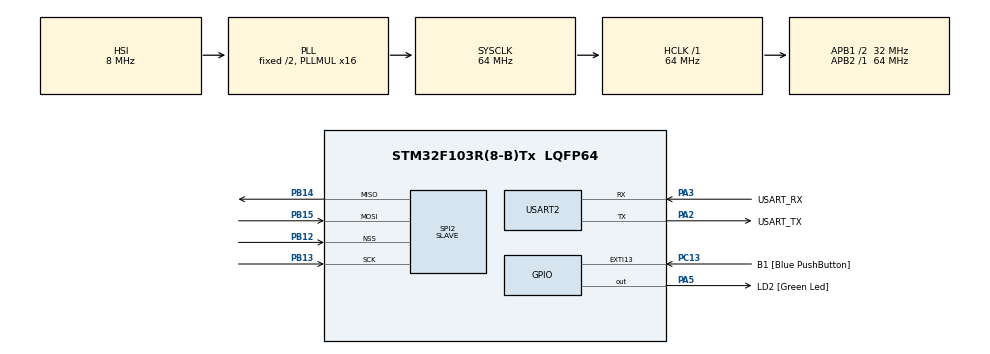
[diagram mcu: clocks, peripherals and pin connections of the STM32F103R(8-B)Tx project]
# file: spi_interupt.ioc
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Dma.Request0=SPI2_RX
Dma.Request1=SPI2_TX
Dma.SPI2_RX.0.Direction=DMA_PERIPH_TO_MEMORY
Dma.SPI2_RX.0.Instance=DMA1_Channel4
Dma.SPI2_RX.0.MemDataAlignment=DMA_MDATAALIGN_BYTE
Dma.SPI2_RX.0.MemInc=DMA_MINC_ENABLE
Dma.SPI2_RX.0.Mode=DMA_NORMAL
Dma.SPI2_RX.0.PeriphDataAlignment=DMA_PDATAALIGN_BYTE
Dma.SPI2_RX.0.PeriphInc=DMA_PINC_DISABLE
Dma.SPI2_RX.0.Priority=DMA_PRIORITY_LOW
Dma.SPI2_TX.1.Direction=DMA_MEMORY_TO_PERIPH
Dma.SPI2_TX.1.Instance=DMA1_Channel5
Dma.SPI2_TX.1.MemDataAlignment=DMA_MDATAALIGN_BYTE
Dma.SPI2_TX.1.MemInc=DMA_MINC_ENABLE
Dma.SPI2_TX.1.Mode=DMA_NORMAL
Dma.SPI2_TX.1.PeriphDataAlignment=DMA_PDATAALIGN_BYTE
Dma.SPI2_TX.1.PeriphInc=DMA_PINC_DISABLE
Dma.SPI2_TX.1.Priority=DMA_PRIORITY_LOW
Mcu.Family=STM32F1
Mcu.Name=STM32F103R(8-B)Tx
Mcu.Package=LQFP64
NVIC.DMA1_Channel4_IRQn=true\:0\:0\:false\:false\:true\:false\:true\:true
NVIC.DMA1_Channel5_IRQn=true\:0\:0\:false\:false\:true\:false\:true\:true
NVIC.EXTI15_10_IRQn=true\:0\:0\:false\:false\:true\:true\:true\:true
NVIC.PriorityGroup=NVIC_PRIORITYGROUP_4
NVIC.SPI2_IRQn=true\:0\:0\:false\:false\:true\:true\:true\:true
PA13.GPIO_Label=TMS
PA13.Mode=Serial_Wire
PA13.Signal=SYS_JTMS-SWDIO
PA14.GPIO_Label=TCK
PA14.Mode=Serial_Wire
PA14.Signal=SYS_JTCK-SWCLK
PA2.GPIO_Label=USART_TX
PA2.GPIO_Mode=GPIO_MODE_AF_PP
PA2.GPIO_PuPd=GPIO_NOPULL
PA2.GPIO_Speed=GPIO_SPEED_FREQ_LOW
PA2.Mode=Asynchronous
PA2.Signal=USART2_TX
PA3.GPIO_Label=USART_RX
PA3.GPIO_Mode=GPIO_MODE_AF_PP
PA3.GPIO_PuPd=GPIO_NOPULL
PA3.GPIO_Speed=GPIO_SPEED_FREQ_LOW
PA3.Mode=Asynchronous
PA3.Signal=USART2_RX
PA5.GPIO_Label=LD2 [Green Led]
PA5.GPIO_ModeDefaultOutputPP=GPIO_MODE_OUTPUT_PP
PA5.GPIO_PuPd=GPIO_NOPULL
PA5.GPIO_Speed=GPIO_SPEED_FREQ_LOW
PA5.Signal=GPIO_Output
PB12.Mode=NSS_Signal_Hard_Input
PB12.Signal=SPI2_NSS
PB13.Mode=Full_Duplex_Slave
PB13.Signal=SPI2_SCK
PB14.Mode=Full_Duplex_Slave
PB14.Signal=SPI2_MISO
PB15.Mode=Full_Duplex_Slave
PB15.Signal=SPI2_MOSI
PB3.GPIO_Label=SWO
PB3.Signal=SYS_JTDO-TRACESWO
PC13-TAMPER-RTC.GPIO_Label=B1 [Blue PushButton]
PC13-TAMPER-RTC.GPIO_PuPd=GPIO_NOPULL
PC13-TAMPER-RTC.Signal=GPXTI13
PC14-OSC32_IN.Mode=LSE-External-Oscillator
PC14-OSC32_IN.Signal=RCC_OSC32_IN
PC15-OSC32_OUT.Mode=LSE-External-Oscillator
PC15-OSC32_OUT.Signal=RCC_OSC32_OUT
PD0-OSC_IN.Mode=HSE-External-Clock-Source
PD0-OSC_IN.Signal=RCC_OSC_IN
PD1-OSC_OUT.Mode=HSE-External-Clock-Source
PD1-OSC_OUT.Signal=RCC_OSC_OUT
ProjectManager.HeapSize=0x200
ProjectManager.StackSize=0x400
ProjectManager.TargetToolchain=STM32CubeIDE
RCC.AHBFreq_Value=64000000
RCC.APB1CLKDivider=RCC_HCLK_DIV2
RCC.APB1Freq_Value=32000000
RCC.APB1TimFreq_Value=64000000
RCC.APB2Freq_Value=64000000
RCC.APB2TimFreq_Value=64000000
RCC.HCLKFreq_Value=64000000
RCC.PLLMUL=RCC_PLL_MUL16
RCC.RTCClockSelection=RCC_RTCCLKSOURCE_LSE
RCC.SYSCLKFreq_VALUE=64000000
RCC.SYSCLKSource=RCC_SYSCLKSOURCE_PLLCLK
RCC.USBFreq_Value=64000000
SPI2.Direction=SPI_DIRECTION_2LINES
SPI2.Mode=SPI_MODE_SLAVE
SPI2.VirtualNSS=VM_NSSHARD
SPI2.VirtualType=VM_SLAVE
USART2.VirtualMode=VM_ASYNC
board=NUCLEO-F103RB

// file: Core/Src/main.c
/* USER CODE BEGIN Header */
/**
  ******************************************************************************
  * @file           : main.c
  * @brief          : Main program body
  ******************************************************************************
  * @attention
  *
  * Copyright (c) 2025 STMicroelectronics.
  * All rights reserved.
  *
  * This software is licensed under terms that can be found in the LICENSE file
  * in the root directory of this software component.
  * If no LICENSE file comes with this software, it is provided AS-IS.
  *
  ******************************************************************************
  */
/* USER CODE END Header */
#include "main.h"

/* USER CODE BEGIN Includes */
#define BUFFER_SIZE 6
/* USER CODE END Includes */

/* USER CODE BEGIN PD */
static uint8_t rx[BUFFER_SIZE];
static uint8_t tx[BUFFER_SIZE] = { 'B','O','O','T','!','!' }; // 첫 프레임 응답
static volatile uint8_t last_rx[BUFFER_SIZE];
static volatile uint8_t frame_done = 0; // 메인 루프에서 로그 찍기용
/* USER CODE END PD */

SPI_HandleTypeDef hspi2;
DMA_HandleTypeDef hdma_spi2_rx;
DMA_HandleTypeDef hdma_spi2_tx;

UART_HandleTypeDef huart2;

void SystemClock_Config(void);
static void MX_GPIO_Init(void);
static void MX_DMA_Init(void);
static void MX_USART2_UART_Init(void);
static void MX_SPI2_Init(void);

/* USER CODE BEGIN 0 */
int __io_putchar(int ch)
{
    HAL_UART_Transmit(&huart2, (uint8_t *)&ch, 1, HAL_MAX_DELAY);
    return ch;
}

static void compute_response(const uint8_t in[BUFFER_SIZE], uint8_t out[BUFFER_SIZE])
{
    for (int i=0; i<BUFFER_SIZE; i++) {
        uint8_t c = in[i];
        out[i] = (c >= 'a' && c <= 'z') ? (uint8_t)(c - 'a' + 'A') : c;
    }
    out[0] = 'O'; out[1] = 'K';
}
/* USER CODE END 0 */

int main(void)
{

  /* MCU Configuration--------------------------------------------------------*/

  /* Reset of all peripherals, Initializes the Flash interface and the Systick. */
  HAL_Init();

  /* Configure the system clock */
  SystemClock_Config();

  /* Initialize all configured peripherals */
  MX_GPIO_Init();
  MX_DMA_Init();
  MX_USART2_UART_Init();
  MX_SPI2_Init();
  /* USER CODE BEGIN 2 */
  HAL_NVIC_SetPriority(SPI2_IRQn, 1, 0);
  HAL_NVIC_EnableIRQ(SPI2_IRQn);
  HAL_SPI_TransmitReceive_DMA(&hspi2, tx, rx, BUFFER_SIZE);
  /* USER CODE END 2 */

  /* Infinite loop */
  while (1)
  {
	if (frame_done) {
		 frame_done = 0;
		 // 직전 프레임에서 받은 바이트를 UART로 보기 (콜백 안에서 출력 금지!)
		 printf("RX: ");
		 for (int i=0;i<BUFFER_SIZE;i++) printf("%02X ", last_rx[i]);
		 printf(" | \"");
		 for (int i=0;i<BUFFER_SIZE;i++) {
			 uint8_t c = last_rx[i];
			 putchar((c>=32 && c<=126) ? c : '.');
		 }
		 printf("\"\r\n");
	 }
  }
}

void SystemClock_Config(void)
{
  RCC_OscInitTypeDef RCC_OscInitStruct = {0};
  RCC_ClkInitTypeDef RCC_ClkInitStruct = {0};

  /** Initializes the RCC Oscillators according to the specified parameters
  * in the RCC_OscInitTypeDef structure.
  */
  RCC_OscInitStruct.OscillatorType = RCC_OSCILLATORTYPE_HSI;
  RCC_OscInitStruct.HSIState = RCC_HSI_ON;
  RCC_OscInitStruct.HSICalibrationValue = RCC_HSICALIBRATION_DEFAULT;
  RCC_OscInitStruct.PLL.PLLState = RCC_PLL_ON;
  RCC_OscInitStruct.PLL.PLLSource = RCC_PLLSOURCE_HSI_DIV2;
  RCC_OscInitStruct.PLL.PLLMUL = RCC_PLL_MUL16;
  if (HAL_RCC_OscConfig(&RCC_OscInitStruct) != HAL_OK)
  {
    Error_Handler();
  }

  /** Initializes the CPU, AHB and APB buses clocks
  */
  RCC_ClkInitStruct.ClockType = RCC_CLOCKTYPE_HCLK|RCC_CLOCKTYPE_SYSCLK
                              |RCC_CLOCKTYPE_PCLK1|RCC_CLOCKTYPE_PCLK2;
  RCC_ClkInitStruct.SYSCLKSource = RCC_SYSCLKSOURCE_PLLCLK;
  RCC_ClkInitStruct.AHBCLKDivider = RCC_SYSCLK_DIV1;
  RCC_ClkInitStruct.APB1CLKDivider = RCC_HCLK_DIV2;
  RCC_ClkInitStruct.APB2CLKDivider = RCC_HCLK_DIV1;

  if (HAL_RCC_ClockConfig(&RCC_ClkInitStruct, FLASH_LATENCY_2) != HAL_OK)
  {
    Error_Handler();
  }
}

static void MX_SPI2_Init(void)
{

  /* SPI2 parameter configuration*/
  hspi2.Instance = SPI2;
  hspi2.Init.Mode = SPI_MODE_SLAVE;
  hspi2.Init.Direction = SPI_DIRECTION_2LINES;
  hspi2.Init.DataSize = SPI_DATASIZE_8BIT;
  hspi2.Init.CLKPolarity = SPI_POLARITY_LOW;
  hspi2.Init.CLKPhase = SPI_PHASE_1EDGE;
  hspi2.Init.NSS = SPI_NSS_HARD_INPUT;
  hspi2.Init.FirstBit = SPI_FIRSTBIT_MSB;
  hspi2.Init.TIMode = SPI_TIMODE_DISABLE;
  hspi2.Init.CRCCalculation = SPI_CRCCALCULATION_DISABLE;
  hspi2.Init.CRCPolynomial = 10;
  if (HAL_SPI_Init(&hspi2) != HAL_OK)
  {
    Error_Handler();
  }

}

static void MX_USART2_UART_Init(void)
{

  huart2.Instance = USART2;
  huart2.Init.BaudRate = 115200;
  huart2.Init.WordLength = UART_WORDLENGTH_8B;
  huart2.Init.StopBits = UART_STOPBITS_1;
  huart2.Init.Parity = UART_PARITY_NONE;
  huart2.Init.Mode = UART_MODE_TX_RX;
  huart2.Init.HwFlowCtl = UART_HWCONTROL_NONE;
  huart2.Init.OverSampling = UART_OVERSAMPLING_16;
  if (HAL_UART_Init(&huart2) != HAL_OK)
  {
    Error_Handler();
  }

}

static void MX_DMA_Init(void)
{

  /* DMA controller clock enable */
  __HAL_RCC_DMA1_CLK_ENABLE();

  /* DMA interrupt init */
  /* DMA1_Channel4_IRQn interrupt configuration */
  HAL_NVIC_SetPriority(DMA1_Channel4_IRQn, 0, 0);
  HAL_NVIC_EnableIRQ(DMA1_Channel4_IRQn);
  /* DMA1_Channel5_IRQn interrupt configuration */
  HAL_NVIC_SetPriority(DMA1_Channel5_IRQn, 0, 0);
  HAL_NVIC_EnableIRQ(DMA1_Channel5_IRQn);

}

static void MX_GPIO_Init(void)
{
  GPIO_InitTypeDef GPIO_InitStruct = {0};

  /* GPIO Ports Clock Enable */
  __HAL_RCC_GPIOC_CLK_ENABLE();
  __HAL_RCC_GPIOD_CLK_ENABLE();
  __HAL_RCC_GPIOA_CLK_ENABLE();
  __HAL_RCC_GPIOB_CLK_ENABLE();

  /*Configure GPIO pin Output Level */
  HAL_GPIO_WritePin(LD2_GPIO_Port, LD2_Pin, GPIO_PIN_RESET);

  /*Configure GPIO pin : B1_Pin */
  GPIO_InitStruct.Pin = B1_Pin;
  GPIO_InitStruct.Mode = GPIO_MODE_IT_RISING;
  GPIO_InitStruct.Pull = GPIO_NOPULL;
  HAL_GPIO_Init(B1_GPIO_Port, &GPIO_InitStruct);

  /*Configure GPIO pin : LD2_Pin */
  GPIO_InitStruct.Pin = LD2_Pin;
  GPIO_InitStruct.Mode = GPIO_MODE_OUTPUT_PP;
  GPIO_InitStruct.Pull = GPIO_NOPULL;
  GPIO_InitStruct.Speed = GPIO_SPEED_FREQ_LOW;
  HAL_GPIO_Init(LD2_GPIO_Port, &GPIO_InitStruct);

  /* EXTI interrupt init*/
  HAL_NVIC_SetPriority(EXTI15_10_IRQn, 0, 0);
  HAL_NVIC_EnableIRQ(EXTI15_10_IRQn);

}

/* USER CODE BEGIN 4 */
void HAL_SPI_TxRxCpltCallback(SPI_HandleTypeDef *hspi)
{
    if (hspi != &hspi2) return;

    // 방금 받은 프레임 저장(메인 루프에서 출력용)
    memcpy((void*)last_rx, rx, BUFFER_SIZE);
    frame_done = 1;

    // 다음 프레임에 나갈 응답 만들기
    compute_response(rx, tx);

    // 곧바로 다음 프레임 대기 상태로 재-시작
    HAL_SPI_TransmitReceive_DMA(&hspi2, tx, rx, BUFFER_SIZE);
}

void HAL_SPI_TxRxHalfCpltCallback(SPI_HandleTypeDef *hspi)
{
    (void)hspi;
}

void HAL_SPI_ErrorCallback(SPI_HandleTypeDef *hspi)
{
    if (hspi != &hspi2) return;
    memcpy(tx, (const uint8_t*)"ERR!!!", BUFFER_SIZE);
    HAL_SPI_TransmitReceive_DMA(&hspi2, tx, rx, BUFFER_SIZE);
}
/* USER CODE END 4 */

void Error_Handler(void)
{
  __disable_irq();
  while (1)
  {
  }
}
